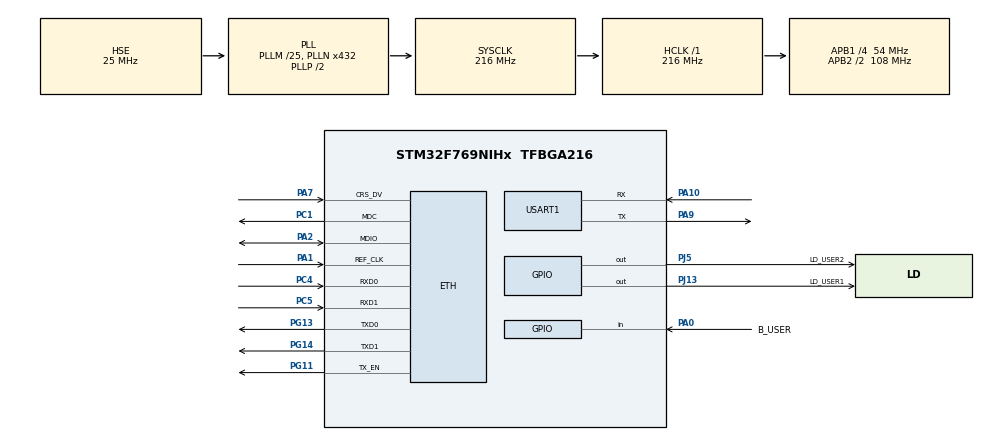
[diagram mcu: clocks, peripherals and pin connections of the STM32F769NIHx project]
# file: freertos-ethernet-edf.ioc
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ETH.MediaInterface=ETH_MEDIA_INTERFACE_RMII
Mcu.Family=STM32F7
Mcu.Name=STM32F769NIHx
Mcu.Package=TFBGA216
NVIC.HASH_RNG_IRQn=true\:0\:0\:false\:false\:true\:true\:true
NVIC.PriorityGroup=NVIC_PRIORITYGROUP_4
NVIC.TIM6_DAC_IRQn=true\:0\:0\:false\:false\:true\:false\:true
NVIC.TimeBase=TIM6_DAC_IRQn
NVIC.TimeBaseIP=TIM6
PA0/WKUP.GPIO_Label=B_USER
PA0/WKUP.Signal=GPIO_Input
PA1.Mode=RMII
PA1.Signal=ETH_REF_CLK
PA10.Mode=Asynchronous
PA10.Signal=USART1_RX
PA13.Mode=Serial_Wire
PA13.Signal=SYS_JTMS-SWDIO
PA14.Mode=Serial_Wire
PA14.Signal=SYS_JTCK-SWCLK
PA2.Mode=RMII
PA2.Signal=ETH_MDIO
PA7.Mode=RMII
PA7.Signal=ETH_CRS_DV
PA9.Mode=Asynchronous
PA9.Signal=USART1_TX
PC1.Mode=RMII
PC1.Signal=ETH_MDC
PC4.Mode=RMII
PC4.Signal=ETH_RXD0
PC5.Mode=RMII
PC5.Signal=ETH_RXD1
PG11.Mode=RMII
PG11.Signal=ETH_TX_EN
PG13.Mode=RMII
PG13.Signal=ETH_TXD0
PG14.Mode=RMII
PG14.Signal=ETH_TXD1
PH0/OSC_IN.Mode=HSE-External-Oscillator
PH0/OSC_IN.Signal=RCC_OSC_IN
PH1/OSC_OUT.Mode=HSE-External-Oscillator
PH1/OSC_OUT.Signal=RCC_OSC_OUT
PJ13.GPIO_Label=LD_USER1
PJ13.Signal=GPIO_Output
PJ5.GPIO_Label=LD_USER2
PJ5.Signal=GPIO_Output
ProjectManager.HeapSize=0x200
ProjectManager.StackSize=0x400
ProjectManager.TargetToolchain=STM32CubeIDE
RCC.AHBFreq_Value=216000000
RCC.APB1CLKDivider=RCC_HCLK_DIV4
RCC.APB1Freq_Value=54000000
RCC.APB1TimFreq_Value=108000000
RCC.APB2CLKDivider=RCC_HCLK_DIV2
RCC.APB2Freq_Value=108000000
RCC.APB2TimFreq_Value=216000000
RCC.CortexFreq_Value=216000000
RCC.HCLKFreq_Value=216000000
RCC.HSE_VALUE=25000000
RCC.HSI_VALUE=16000000
RCC.LSE_VALUE=32768
RCC.PLLM=25
RCC.PLLN=432
RCC.PLLQ=9
RCC.PLLSAIQ=3
RCC.PLLSourceVirtual=RCC_PLLSOURCE_HSE
RCC.SYSCLKFreq_VALUE=216000000
RCC.SYSCLKSource=RCC_SYSCLKSOURCE_PLLCLK
RCC.USBFreq_Value=48000000
RCC.VCOOutputFreq_Value=432000000
USART1.VirtualMode-Asynchronous=VM_ASYNC
VP_RNG_VS_RNG.Mode=RNG_Activate
VP_SYS_VS_tim6.Mode=TIM6
board=STM32F769I-DISCO

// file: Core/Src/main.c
/* USER CODE BEGIN Header */
/**
  ******************************************************************************
  * @file           : main.c
  * @brief          : Main program body
  ******************************************************************************
  * @attention
  *
  * <h2><center>&copy; Copyright (c) 2020 STMicroelectronics.
  * All rights reserved.</center></h2>
  *
  * This software component is licensed by ST under BSD 3-Clause license,hä
  * the "License"; You may not use this file except in compliance with the
  * License. You may obtain a copy of the License at:
  *                        opensource.org/licenses/BSD-3-Clause
  *
  ******************************************************************************
  */
/* USER CODE END Header */
#include "main.h"
#include "eth.h"
#include "rng.h"
#include "usart.h"
#include "gpio.h"

/* USER CODE BEGIN Includes */
#include "FreeRTOS.h"
#include "task.h"
#include "FreeRTOS_IP.h"
#include "queue.h"
#include "FreeRTOS_Sockets.h"
#include <stdlib.h>
#include <stdio.h>
#include "user_variables.h"
#include "hooks.h"
#include "helper_functions.h"
#include "arm_math.h"
#include "edf_tasks.h"
#include "stdio.h"

/* USER CODE END Includes */

/* USER CODE BEGIN PM */
/* Default MAC address configuration.  The demo creates a virtual network
connection that uses this MAC address by accessing the raw Ethernet data
to and from a real network connection on the host PC.  See the
configNETWORK_INTERFACE_TO_USE definition for information on how to configure
the real network connection to use. */
const uint8_t ucMACAddress[ 6 ] = { configMAC_ADDR0, configMAC_ADDR1, configMAC_ADDR2, configMAC_ADDR3, configMAC_ADDR4, configMAC_ADDR5 };

/* The default IP and MAC address used by the demo.  The address configuration
defined here will be used if ipconfigUSE_DHCP is 0, or if ipconfigUSE_DHCP is
1 but a DHCP server could not be contacted.  See the online documentation for
more information. */
static const uint8_t ucIPAddress[ 4 ] = { configIP_ADDR0, configIP_ADDR1, configIP_ADDR2, configIP_ADDR3 };
static const uint8_t ucNetMask[ 4 ] = { configNET_MASK0, configNET_MASK1, configNET_MASK2, configNET_MASK3 };
static const uint8_t ucGatewayAddress[ 4 ] = { configGATEWAY_ADDR0, configGATEWAY_ADDR1, configGATEWAY_ADDR2, configGATEWAY_ADDR3 };
static const uint8_t ucDNSServerAddress[ 4 ] = { configDNS_SERVER_ADDR0, configDNS_SERVER_ADDR1, configDNS_SERVER_ADDR2, configDNS_SERVER_ADDR3 };

/* USER CODE END PM */

/* USER CODE BEGIN PV */
#if DEBUG_MODE
	extern edfTasks_s edfTasks;
#endif
/* USER CODE END PV */

void SystemClock_Config(void);

/* USER CODE BEGIN 0 */
/* Declaration of Queue Pointers */
QueueHandle_t receivedQueue = NULL;
QueueHandle_t sendQueue = NULL;
/* USER CODE END 0 */

int main(void)
{

  /* MCU Configuration--------------------------------------------------------*/

  /* Reset of all peripherals, Initializes the Flash interface and the Systick. */
  HAL_Init();

  /* Configure the system clock */
  SystemClock_Config();

  /* Initialize all configured peripherals */
  MX_GPIO_Init();
  MX_RNG_Init();
  // activate usart only when debug mode is enabled (prevent unnecessary interrupts)
  #if DEBUG_MODE
    MX_USART1_UART_Init();
  #endif
  /* USER CODE BEGIN 2 */
  #if DEBUG_MODE
  	  debugPrintln("Main Hardware init finished");
  #endif
  /* create queue for sending data between receiving UDP task and fft task */
  receivedQueue= xQueueCreate( 3, (sizeof( float32_t * ) * TOTAL_SAMPLE_SIZE));
  /* create queue for sending data between fft task and sending UDP task */
  sendQueue= xQueueCreate( 3, (sizeof( float32_t * ) * FFT_SIZE) );
  /* check if queue pointers are NULL */
  if ( ( receivedQueue == NULL ) || ( sendQueue == NULL) )
  {
	  #if DEBUG_MODE == 1
		  debugPrintln( "--------------------------------");
		  debugPrintln( " ONE QUEUE IS NULL !!!! ");
		  debugPrintln( "--------------------------------");
	  #endif
  }
  /* init Freertos + TCP module */
  #if DEBUG_MODE == 1
  debugPrintln("IP Init");
	#endif
  /* init freertos IP Stack */
  FreeRTOS_IPInit( ucIPAddress,
                   ucNetMask,
                   ucGatewayAddress,
                   ucDNSServerAddress,
                   ucMACAddress );
  /* start the freertos scheduler */
  #if DEBUG_MODE
  	  debugPrintln("Start Scheduler");
  #endif
  vTaskStartScheduler();
  /* USER CODE END 2 */

  /* Infinite loop */
  while (1)
  {

  }
}

void SystemClock_Config(void)
{
  RCC_OscInitTypeDef RCC_OscInitStruct = {0};
  RCC_ClkInitTypeDef RCC_ClkInitStruct = {0};
  RCC_PeriphCLKInitTypeDef PeriphClkInitStruct = {0};

  /** Configure the main internal regulator output voltage
  */
  __HAL_RCC_PWR_CLK_ENABLE();
  __HAL_PWR_VOLTAGESCALING_CONFIG(PWR_REGULATOR_VOLTAGE_SCALE1);
  /** Initializes the RCC Oscillators according to the specified parameters
  * in the RCC_OscInitTypeDef structure.
  */
  RCC_OscInitStruct.OscillatorType = RCC_OSCILLATORTYPE_HSE;
  RCC_OscInitStruct.HSEState = RCC_HSE_ON;
  RCC_OscInitStruct.PLL.PLLState = RCC_PLL_ON;
  RCC_OscInitStruct.PLL.PLLSource = RCC_PLLSOURCE_HSE;
  RCC_OscInitStruct.PLL.PLLM = 25;
  RCC_OscInitStruct.PLL.PLLN = 432;
  RCC_OscInitStruct.PLL.PLLP = RCC_PLLP_DIV2;
  RCC_OscInitStruct.PLL.PLLQ = 9;
  if (HAL_RCC_OscConfig(&RCC_OscInitStruct) != HAL_OK)
  {
    Error_Handler();
  }
  /** Activate the Over-Drive mode
  */
  if (HAL_PWREx_EnableOverDrive() != HAL_OK)
  {
    Error_Handler();
  }
  /** Initializes the CPU, AHB and APB buses clocks
  */
  RCC_ClkInitStruct.ClockType = RCC_CLOCKTYPE_HCLK|RCC_CLOCKTYPE_SYSCLK
                              |RCC_CLOCKTYPE_PCLK1|RCC_CLOCKTYPE_PCLK2;
  RCC_ClkInitStruct.SYSCLKSource = RCC_SYSCLKSOURCE_PLLCLK;
  RCC_ClkInitStruct.AHBCLKDivider = RCC_SYSCLK_DIV1;
  RCC_ClkInitStruct.APB1CLKDivider = RCC_HCLK_DIV4;
  RCC_ClkInitStruct.APB2CLKDivider = RCC_HCLK_DIV2;

  if (HAL_RCC_ClockConfig(&RCC_ClkInitStruct, FLASH_LATENCY_7) != HAL_OK)
  {
    Error_Handler();
  }
  PeriphClkInitStruct.PeriphClockSelection = RCC_PERIPHCLK_USART1|RCC_PERIPHCLK_CLK48;
  PeriphClkInitStruct.Usart1ClockSelection = RCC_USART1CLKSOURCE_PCLK2;
  PeriphClkInitStruct.Clk48ClockSelection = RCC_CLK48SOURCE_PLL;
  if (HAL_RCCEx_PeriphCLKConfig(&PeriphClkInitStruct) != HAL_OK)
  {
    Error_Handler();
  }
}

 /**
  * @brief  Period elapsed callback in non blocking mode
  * @note   This function is called  when TIM6 interrupt took place, inside
  * HAL_TIM_IRQHandler(). It makes a direct call to HAL_IncTick() to increment
  * a global variable "uwTick" used as application time base.
  * @param  htim : TIM handle
  * @retval None
  */
void HAL_TIM_PeriodElapsedCallback(TIM_HandleTypeDef *htim)
{
  if (htim->Instance == TIM6) {
    HAL_IncTick();
  }
}

void Error_Handler(void)
{
  __disable_irq();
  while (1)
  {
  }
}

/************************ (C) COPYRIGHT STMicroelectronics *****END OF FILE****/
